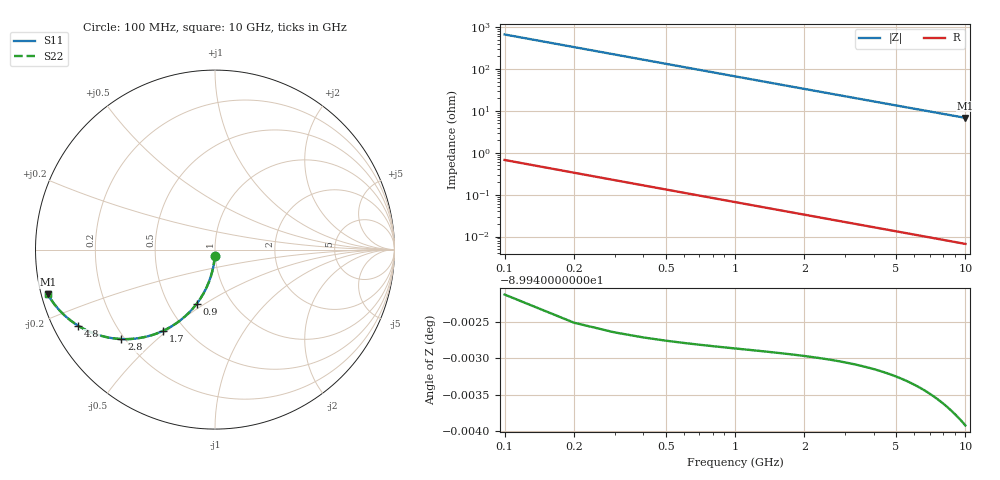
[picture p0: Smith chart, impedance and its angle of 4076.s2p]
# Hz S RI R 50.00
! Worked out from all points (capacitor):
!   100 points, 100 MHz to 10 GHz, reference 50 ohm
!   read as one part in shunt: C = 2.39 pF near 100 MHz
!   lowest |Z| = 6.81 ohm at 10 GHz (marker M1)
!   S11 on the Smith chart (normalised r, x): 100 MHz: 0.99, -0.07; 900 MHz: 0.69, -0.46; 1.7 GHz: 0.38, -0.49; 2.8 GHz: 0.19, -0.39; 4.8 GHz: 0.07, -0.26; 10 GHz: 0.02, -0.13
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1e8  -0.00144 -0.0375  0.9986 -0.0375  0.9986 -0.0375  -0.00144 -0.0375
2e8  -0.00567 -0.0746  0.9943 -0.0747  0.9943 -0.0747  -0.00567 -0.0746
3e8  -0.0126 -0.1111  0.9874 -0.1112  0.9874 -0.1112  -0.0126 -0.1111
4e8  -0.0222 -0.1466  0.9778 -0.1468  0.9778 -0.1468  -0.0222 -0.1466
5e8  -0.0341 -0.181  0.9658 -0.1812  0.9658 -0.1812  -0.0341 -0.181
6e8  -0.0484 -0.2139  0.9516 -0.2142  0.9516 -0.2142  -0.0484 -0.2139
7e8  -0.0647 -0.2453  0.9353 -0.2456  0.9353 -0.2456  -0.0647 -0.2453
9e8  -0.1024 -0.3025  0.8976 -0.3029  0.8976 -0.3029  -0.1024 -0.3025
1.1e9  -0.1454 -0.3518  0.8546 -0.3523  0.8546 -0.3523  -0.1454 -0.3518
1.3e9  -0.1918 -0.3929  0.8082 -0.3935  0.8082 -0.3935  -0.1918 -0.3929
1.7e9  -0.2881 -0.452  0.7118 -0.4528  0.7118 -0.4528  -0.2881 -0.452
1.8e9  -0.312 -0.4624  0.688 -0.4632  0.688 -0.4632  -0.312 -0.4624
2.3e9  -0.4247 -0.4933  0.5753 -0.4943  0.5753 -0.4943  -0.4247 -0.4933
2.8e9  -0.5218 -0.4984  0.4782 -0.4997  0.4782 -0.4997  -0.5218 -0.4984
3.4e9  -0.616 -0.4851  0.384 -0.4867  0.384 -0.4867  -0.616 -0.4851
4.1e9  -0.6993 -0.4571  0.3007 -0.4591  0.3007 -0.4591  -0.6993 -0.4571
4.8e9  -0.7607 -0.425  0.2393 -0.4273  0.2393 -0.4273  -0.7607 -0.425
5.1e9  -0.7819 -0.4112  0.2181 -0.4137  0.2181 -0.4137  -0.7819 -0.4112
5.8e9  -0.8223 -0.3804  0.1777 -0.3832  0.1777 -0.3832  -0.8223 -0.3804
6.7e9  -0.8603 -0.3445  0.1397 -0.3478  0.1397 -0.3478  -0.8603 -0.3445
8.4e9  -0.9061 -0.2891  0.0938 -0.2932  0.0938 -0.2932  -0.9061 -0.2891
1e10  -0.9318 -0.2491  0.0682 -0.254  0.0682 -0.254  -0.9318 -0.2491
